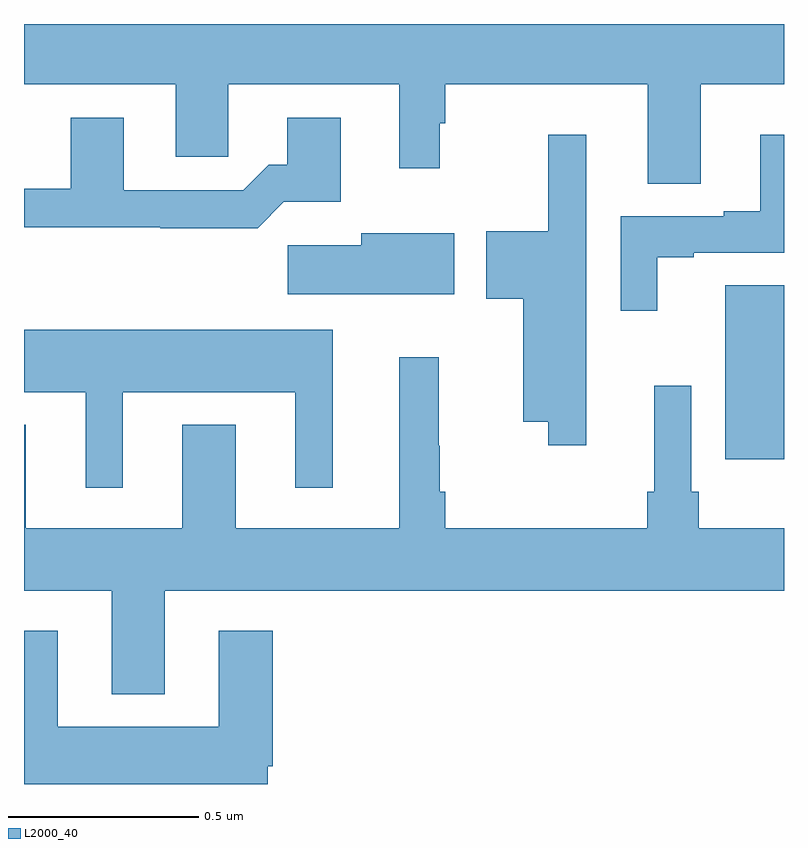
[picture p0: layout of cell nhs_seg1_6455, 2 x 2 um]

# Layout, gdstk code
import gdstk
lib = gdstk.Library(unit=1e-6, precision=1e-09)
def R(c, l, rs):  # rectangles x0, y0, x1, y1
    for r in rs: c.add(gdstk.rectangle(r[:2], r[2:], *l))
def P(c, l, *ps):  # polygons
    for p in ps: c.add(gdstk.Polygon(p, *l))
L2000_40 = (2000, 40)

nhs_seg1_6455 = lib.new_cell('nhs_seg1_6455')
R(nhs_seg1_6455, L2000_40, [(192.845,576.054,193,576.512)])
P(nhs_seg1_6455, L2000_40, [(192.781,577.04),(193,577.04),(193,577.199),(191,577.199),(191,577.04),(191.399,577.04),(191.399,576.85),(191.538,576.85),(191.538,577.04),(191.987,577.04),(191.987,576.819),(192.094,576.819),(192.094,576.938),(192.109,576.938),(192.109,577.04),(192.641,577.04),(192.641,576.778),(192.781,576.778)],
  [(191.684,576.731),(191.833,576.731),(191.833,576.952),(191.693,576.952),(191.693,576.829),(191.644,576.829),(191.577,576.762),(191.263,576.762),(191.263,576.952),(191.123,576.952),(191.123,576.765),(191,576.765),(191,576.664),(191.359,576.664),(191.359,576.662),(191.615,576.662)],
  [(192.667,576.585),(192.763,576.585),(192.763,576.597),(193,576.597),(193,576.907),(192.938,576.907),(192.938,576.706),(192.842,576.706),(192.842,576.693),(192.57,576.693),(192.57,576.444),(192.667,576.444)],
  [(192.48,576.907),(192.379,576.907),(192.379,576.654),(192.217,576.654),(192.217,576.476),(192.314,576.476),(192.314,576.152),(192.379,576.152),(192.379,576.09),(192.48,576.09)],
  [(192.132,576.649),(191.888,576.649),(191.888,576.617),(191.694,576.617),(191.694,576.488),(192.132,576.488)],
  [(191.26,576.23),(191.714,576.23),(191.714,575.979),(191.812,575.979),(191.812,576.394),(191,576.394),(191,576.23),(191.162,576.23),(191.162,575.979),(191.26,575.979)],
  [(191.371,575.708),(193,575.708),(193,575.872),(192.776,575.872),(192.776,575.968),(192.756,575.968),(192.756,576.247),(192.659,576.247),(192.659,575.968),(192.64,575.968),(192.64,575.872),(192.109,575.872),(192.109,575.968),(192.094,575.968),(192.094,576.089),(192.091,576.089),(192.091,576.322),(191.987,576.322),(191.987,575.872),(191.557,575.872),(191.557,576.145),(191.417,576.145),(191.417,575.872),(191.005,575.872),(191.005,576.145),(191,576.145),(191,575.708),(191.231,575.708),(191.231,575.435),(191.371,575.435)],
  [(191.641,575.246),(191.654,575.246),(191.654,575.602),(191.513,575.602),(191.513,575.35),(191.089,575.35),(191.089,575.602),(191,575.602),(191,575.199),(191.641,575.199)])

lib.write_gds('nhs_seg1_6455.gds')
